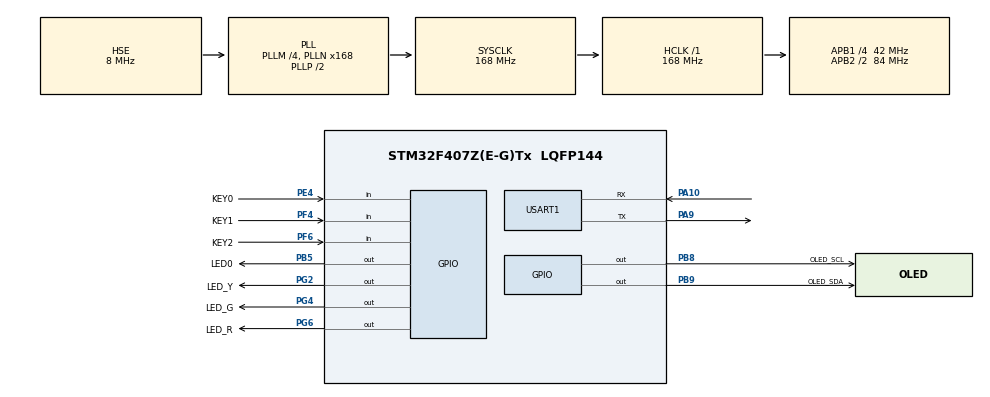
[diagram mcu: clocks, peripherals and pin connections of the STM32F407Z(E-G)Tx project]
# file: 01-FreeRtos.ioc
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Dma.Request0=USART1_RX
Dma.Request1=USART1_TX
Dma.USART1_RX.0.Direction=DMA_PERIPH_TO_MEMORY
Dma.USART1_RX.0.FIFOMode=DMA_FIFOMODE_DISABLE
Dma.USART1_RX.0.Instance=DMA2_Stream2
Dma.USART1_RX.0.MemDataAlignment=DMA_MDATAALIGN_BYTE
Dma.USART1_RX.0.MemInc=DMA_MINC_ENABLE
Dma.USART1_RX.0.Mode=DMA_NORMAL
Dma.USART1_RX.0.PeriphDataAlignment=DMA_PDATAALIGN_BYTE
Dma.USART1_RX.0.PeriphInc=DMA_PINC_DISABLE
Dma.USART1_RX.0.Priority=DMA_PRIORITY_LOW
Dma.USART1_TX.1.Direction=DMA_MEMORY_TO_PERIPH
Dma.USART1_TX.1.FIFOMode=DMA_FIFOMODE_DISABLE
Dma.USART1_TX.1.Instance=DMA2_Stream7
Dma.USART1_TX.1.MemDataAlignment=DMA_MDATAALIGN_BYTE
Dma.USART1_TX.1.MemInc=DMA_MINC_ENABLE
Dma.USART1_TX.1.Mode=DMA_NORMAL
Dma.USART1_TX.1.PeriphDataAlignment=DMA_PDATAALIGN_BYTE
Dma.USART1_TX.1.PeriphInc=DMA_PINC_DISABLE
Dma.USART1_TX.1.Priority=DMA_PRIORITY_LOW
FREERTOS.Tasks01=defaultTask,24,128,StartDefaultTask,Default,NULL,Dynamic,NULL,NULL
FREERTOS.configTOTAL_HEAP_SIZE=15360
Mcu.Family=STM32F4
Mcu.Name=STM32F407Z(E-G)Tx
Mcu.Package=LQFP144
NVIC.DMA2_Stream2_IRQn=true\:5\:0\:false\:false\:true\:true\:false\:true\:true
NVIC.DMA2_Stream7_IRQn=true\:5\:0\:false\:false\:true\:true\:false\:true\:true
NVIC.PriorityGroup=NVIC_PRIORITYGROUP_4
NVIC.TIM6_DAC_IRQn=true\:15\:0\:false\:false\:true\:false\:false\:true\:true
NVIC.TimeBase=TIM6_DAC_IRQn
NVIC.TimeBaseIP=TIM6
NVIC.USART1_IRQn=true\:5\:0\:false\:false\:true\:true\:true\:true\:true
PA10.Mode=Asynchronous
PA10.Signal=USART1_RX
PA13.Mode=Serial_Wire
PA13.Signal=SYS_JTMS-SWDIO
PA14.Mode=Serial_Wire
PA14.Signal=SYS_JTCK-SWCLK
PA9.Mode=Asynchronous
PA9.Signal=USART1_TX
PB5.GPIO_Label=LED0
PB5.Signal=GPIO_Output
PB8.GPIO_Label=OLED_SCL
PB8.GPIO_Speed=GPIO_SPEED_FREQ_HIGH
PB8.Signal=GPIO_Output
PB9.GPIO_Label=OLED_SDA
PB9.GPIO_Speed=GPIO_SPEED_FREQ_HIGH
PB9.Signal=GPIO_Output
PC14-OSC32_IN.Mode=LSE-External-Oscillator
PC14-OSC32_IN.Signal=RCC_OSC32_IN
PC15-OSC32_OUT.Mode=LSE-External-Oscillator
PC15-OSC32_OUT.Signal=RCC_OSC32_OUT
PE4.GPIO_Label=KEY0
PE4.GPIO_Mode=GPIO_MODE_INPUT
PE4.GPIO_PuPd=GPIO_PULLUP
PE4.Signal=GPIO_Input
PF4.GPIO_Label=KEY1
PF4.GPIO_Mode=GPIO_MODE_INPUT
PF4.GPIO_PuPd=GPIO_PULLUP
PF4.Signal=GPIO_Input
PF6.GPIO_Label=KEY2
PF6.GPIO_Mode=GPIO_MODE_INPUT
PF6.GPIO_PuPd=GPIO_PULLUP
PF6.Signal=GPIO_Input
PG2.GPIO_Label=LED_Y
PG2.Signal=GPIO_Output
PG4.GPIO_Label=LED_G
PG4.Signal=GPIO_Output
PG6.GPIO_Label=LED_R
PG6.Signal=GPIO_Output
PH0-OSC_IN.Mode=HSE-External-Oscillator
PH0-OSC_IN.Signal=RCC_OSC_IN
PH1-OSC_OUT.Mode=HSE-External-Oscillator
PH1-OSC_OUT.Signal=RCC_OSC_OUT
ProjectManager.HeapSize=0x200
ProjectManager.StackSize=0x400
ProjectManager.TargetToolchain=MDK-ARM V5.32
RCC.48MHZClocksFreq_Value=84000000
RCC.AHBFreq_Value=168000000
RCC.APB1CLKDivider=RCC_HCLK_DIV4
RCC.APB1Freq_Value=42000000
RCC.APB1TimFreq_Value=84000000
RCC.APB2CLKDivider=RCC_HCLK_DIV2
RCC.APB2Freq_Value=84000000
RCC.APB2TimFreq_Value=168000000
RCC.CortexFreq_Value=168000000
RCC.HCLKFreq_Value=168000000
RCC.HSE_VALUE=8000000
RCC.HSI_VALUE=16000000
RCC.PLLM=4
RCC.PLLN=168
RCC.PLLSourceVirtual=RCC_PLLSOURCE_HSE
RCC.SYSCLKFreq_VALUE=168000000
RCC.SYSCLKSource=RCC_SYSCLKSOURCE_PLLCLK
RCC.VCOOutputFreq_Value=336000000
USART1.VirtualMode=VM_ASYNC
VP_FREERTOS_VS_CMSIS_V2.Mode=CMSIS_V2
VP_SYS_VS_tim6.Mode=TIM6
board=custom

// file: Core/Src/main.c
/* USER CODE BEGIN Header */
/**
  ******************************************************************************
  * @file           : main.c
  * @brief          : Main program body
  ******************************************************************************
  * @attention
  *
  * Copyright (c) 2026 STMicroelectronics.
  * All rights reserved.
  *
  * This software is licensed under terms that can be found in the LICENSE file
  * in the root directory of this software component.
  * If no LICENSE file comes with this software, it is provided AS-IS.
  *
  ******************************************************************************
  */
/* USER CODE END Header */
#include "main.h"
#include "cmsis_os.h"
#include "dma.h"
#include "usart.h"
#include "gpio.h"

/* USER CODE BEGIN Includes */
#include "Serial_porting.h"

/* USER CODE END Includes */

void SystemClock_Config(void);
void MX_FREERTOS_Init(void);

int main(void)
{

  /* MCU Configuration--------------------------------------------------------*/

  /* Reset of all peripherals, Initializes the Flash interface and the Systick. */
  HAL_Init();

  /* Configure the system clock */
  SystemClock_Config();

  /* Initialize all configured peripherals */
  MX_GPIO_Init();
  MX_DMA_Init();
  MX_USART1_UART_Init();
  /* USER CODE BEGIN 2 */
  Serial_Init();

  /* USER CODE END 2 */

  /* Init scheduler */
  osKernelInitialize();  /* Call init function for freertos objects (in cmsis_os2.c) */
  MX_FREERTOS_Init();

  /* Start scheduler */
  osKernelStart();

  /* We should never get here as control is now taken by the scheduler */

  /* Infinite loop */
  while (1)
  {

  }
}

void SystemClock_Config(void)
{
  RCC_OscInitTypeDef RCC_OscInitStruct = {0};
  RCC_ClkInitTypeDef RCC_ClkInitStruct = {0};

  /** Configure the main internal regulator output voltage
  */
  __HAL_RCC_PWR_CLK_ENABLE();
  __HAL_PWR_VOLTAGESCALING_CONFIG(PWR_REGULATOR_VOLTAGE_SCALE1);

  /** Initializes the RCC Oscillators according to the specified parameters
  * in the RCC_OscInitTypeDef structure.
  */
  RCC_OscInitStruct.OscillatorType = RCC_OSCILLATORTYPE_HSE;
  RCC_OscInitStruct.HSEState = RCC_HSE_ON;
  RCC_OscInitStruct.PLL.PLLState = RCC_PLL_ON;
  RCC_OscInitStruct.PLL.PLLSource = RCC_PLLSOURCE_HSE;
  RCC_OscInitStruct.PLL.PLLM = 4;
  RCC_OscInitStruct.PLL.PLLN = 168;
  RCC_OscInitStruct.PLL.PLLP = RCC_PLLP_DIV2;
  RCC_OscInitStruct.PLL.PLLQ = 4;
  if (HAL_RCC_OscConfig(&RCC_OscInitStruct) != HAL_OK)
  {
    Error_Handler();
  }

  /** Initializes the CPU, AHB and APB buses clocks
  */
  RCC_ClkInitStruct.ClockType = RCC_CLOCKTYPE_HCLK|RCC_CLOCKTYPE_SYSCLK
                              |RCC_CLOCKTYPE_PCLK1|RCC_CLOCKTYPE_PCLK2;
  RCC_ClkInitStruct.SYSCLKSource = RCC_SYSCLKSOURCE_PLLCLK;
  RCC_ClkInitStruct.AHBCLKDivider = RCC_SYSCLK_DIV1;
  RCC_ClkInitStruct.APB1CLKDivider = RCC_HCLK_DIV4;
  RCC_ClkInitStruct.APB2CLKDivider = RCC_HCLK_DIV2;

  if (HAL_RCC_ClockConfig(&RCC_ClkInitStruct, FLASH_LATENCY_5) != HAL_OK)
  {
    Error_Handler();
  }
}

void HAL_TIM_PeriodElapsedCallback(TIM_HandleTypeDef *htim)
{
  if (htim->Instance == TIM6)
  {
    HAL_IncTick();
  }
}

void Error_Handler(void)
{
  __disable_irq();
  while (1)
  {
  }
}

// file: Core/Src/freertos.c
/* USER CODE BEGIN Header */
/**
  ******************************************************************************
  * File Name          : freertos.c
  * Description        : Code for freertos applications
  ******************************************************************************
  * @attention
  *
  * Copyright (c) 2026 STMicroelectronics.
  * All rights reserved.
  *
  * This software is licensed under terms that can be found in the LICENSE file
  * in the root directory of this software component.
  * If no LICENSE file comes with this software, it is provided AS-IS.
  *
  ******************************************************************************
  */
/* USER CODE END Header */

#include "FreeRTOS.h"
#include "task.h"
#include "main.h"
#include "cmsis_os.h"

/* USER CODE BEGIN Includes */
/* ===================== 1/4 头文件导入 ===================== */
#include "OLED.h"
#include "Timer_Counter.h"
#include "Serial_porting.h"
/* USER CODE END Includes */

/* Definitions for defaultTask */
osThreadId_t defaultTaskHandle;
const osThreadAttr_t defaultTask_attributes = {
  .name = "defaultTask",
  .stack_size = 128 * 4,
  .priority = (osPriority_t) osPriorityNormal,
};

/* USER CODE BEGIN FunctionPrototypes */

/* ===================== 2/4 Queue Set 必需配置检查 ===================== */

/* 1. 必须打开 Queue Set 功能 */
#if !defined(configUSE_QUEUE_SETS)

    #error "configUSE_QUEUE_SETS is not defined! Please add: #define configUSE_QUEUE_SETS 1"

#elif (configUSE_QUEUE_SETS != 1)

    #error "configUSE_QUEUE_SETS must be 1 to use Queue Sets!"

#endif

/* 2. 如果你使用 xQueueCreateSet()，必须支持动态内存分配 */
#if !defined(configSUPPORT_DYNAMIC_ALLOCATION)

    #error "configSUPPORT_DYNAMIC_ALLOCATION is not defined!"

#elif (configSUPPORT_DYNAMIC_ALLOCATION != 1)

    #error "configSUPPORT_DYNAMIC_ALLOCATION must be 1 when using xQueueCreateSet()!"

#endif

/* ===================== 3/4 自定义任务创建 ===================== */

TaskHandle_t Task1_Handle = NULL;
void MyTask1(void *argument)
{
	OLED_Init() ;
	static int OLED_Num = 0;
	while(1)
	{
		OLED_Printf(0, 0,OLED_6X8,"Default") ;
		OLED_Printf(0,20,OLED_6X8,"OLED_Num:%d",OLED_Num++) ;
		OLED_Update() ;
		osDelay(1000);
	}
}

// 任务2是静态任务
TaskHandle_t Task2_Handle = NULL;
StackType_t  Task2_Stack_Buf[128] ;
StaticTask_t Task2_TCB 					 ;

void MyTask2(void *argument)
{
	uint32_t Task2_Last = xTaskGetTickCount() ;
	while(1)
	{
		HAL_GPIO_WritePin(LED_Y_GPIO_Port , LED_R_Pin , GPIO_PIN_SET);
		vTaskDelay(2000);
		HAL_GPIO_WritePin(LED_Y_GPIO_Port , LED_R_Pin , GPIO_PIN_RESET);
		vTaskDelayUntil(&Task2_Last , 4000) ;
		// Timer_Counter_Func() ;
	}
}
/* USER CODE END FunctionPrototypes */

void StartDefaultTask(void *argument);

void MX_FREERTOS_Init(void); /* (MISRA C 2004 rule 8.1) */

void MX_FREERTOS_Init(void) {

  /* Create the thread(s) */
  /* creation of defaultTask */
  defaultTaskHandle = osThreadNew(StartDefaultTask, NULL, &defaultTask_attributes);

}

/* USER CODE BEGIN Header_StartDefaultTask */
/**
  * @brief  Function implementing the defaultTask thread.
  * @param  argument: Not used
  * @retval None
  */

/* ===================== 4/4 默认任务 ===================== */
int cmd = 0 ;
/* USER CODE END Header_StartDefaultTask */
void StartDefaultTask(void *argument)
{
  /* USER CODE BEGIN StartDefaultTask */
	// 外设初始化: 建议都在default创建任务之前进行所有外设的初始化,防止其他任务调用硬件的时候出现操作NULL的情况
	Serial_Init() ;	Serial_printf(&Serial1 , "Hello\r\n") ;
	// 自己添加任务
	xTaskCreate(MyTask1,"MyTask1",128,NULL,osPriorityNormal,&Task1_Handle) ;	// 创建OLED展示任务
	Task2_Handle = xTaskCreateStatic(MyTask2,"MyTask2",128,NULL,osPriorityNormal,Task2_Stack_Buf,&Task2_TCB) ;	// 黄光闪烁任务

  /* Infinite loop */
  for(;;)
  {
		// 灯光闪烁任务
		HAL_GPIO_WritePin(LED0_GPIO_Port , LED0_Pin , GPIO_PIN_SET) ;
    osDelay(500);
		HAL_GPIO_WritePin(LED0_GPIO_Port , LED0_Pin , GPIO_PIN_RESET) ;
		osDelay(500);
		// 进行句柄实验
		if (cmd == 1)	// 删除任务2: 黄色灯光闪烁任务
		{
			vTaskDelete(Task2_Handle) ;
		}
		else if (cmd == 2)	// 删除自己
		{
			vTaskDelete(NULL) ;
		}
		else if (cmd == 3)	// 挂起任务2
		{
			vTaskSuspend(Task2_Handle);
		}
		else if (cmd == 4)	// 恢复任务2
		{
			vTaskResume(Task2_Handle);
		}
		// 这里单列,否则else if永远轮不到这里
		if (cmd != 0)
		{
			cmd = 0 ;
		}
  }
  /* USER CODE END StartDefaultTask */
}
